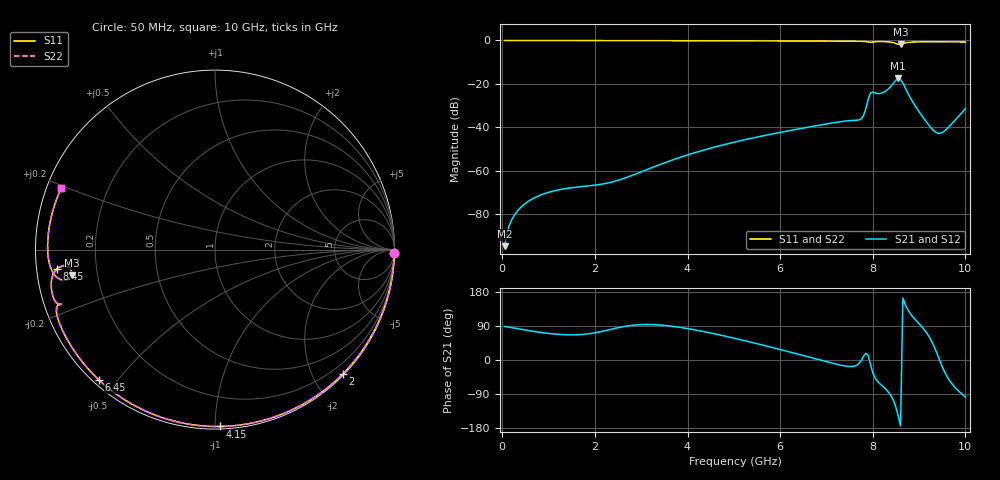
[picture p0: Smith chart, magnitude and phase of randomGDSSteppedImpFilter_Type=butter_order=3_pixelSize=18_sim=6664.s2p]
! freq	dB(S11)	phase(S11)	dB(S12)	phase(S12)
!  dB(S21)	phase(S21)	dB(S22)	phase(S22)
!S-par simulation data
#  GHz  S  DB  R 50
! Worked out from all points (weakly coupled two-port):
!   200 points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, 50 MHz to 10 GHz, reference 50 ohm
!   highest |S21| = -17.45 dB at 8.55 GHz (marker M1); lowest = -94.6 dB at 50 MHz (marker M2)
!   lowest |S11| = -1.9 dB at 8.6 GHz (marker M3), VSWR 9.41, Z = 5.35 - j4.39 ohm
!   |S11| at or under -10 dB: nowhere
!   |S22| runs from -1.8 to 0.0 dB; largest |S21 - S12| = 0
!   S11 on the Smith chart (normalised r, x): 50 MHz: open; 2 GHz: 0.02, -2.46; 4.15 GHz: 0.01, -1.03; 6.45 GHz: 0.02, -0.45; 8.45 GHz: 0.06, -0.06; 10 GHz: 0.04, +0.19
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0.05  -0.00 -1.1  -94.63 88.5  -94.63 88.5  -0.00 -1.1
0.25  -0.01 -5.6  -80.73 84.3  -80.73 84.3  -0.01 -5.6
0.55  -0.02 -12.4  -74.18 78.0  -74.18 78.0  -0.02 -12.4
0.9  -0.03 -20.2  -70.53 71.7  -70.53 71.7  -0.03 -20.2
1.75  -0.05 -38.9  -67.16 67.7  -67.16 67.7  -0.05 -38.9
2  -0.06 -44.3  -66.58 71.8  -66.58 71.8  -0.06 -44.2
3.4  -0.10 -73.4  -57.10 92.3  -57.10 92.3  -0.10 -73.4
4.15  -0.12 -88.3  -51.67 79.7  -51.67 79.7  -0.12 -88.2
5.05  -0.16 -105.5  -46.58 56.2  -46.58 56.2  -0.16 -105.5
6.45  -0.25 -131.7  -40.49 13.3  -40.49 13.3  -0.24 -131.6
6.7  -0.26 -136.4  -39.52 5.2  -39.52 5.2  -0.26 -136.3
7.75  -0.41 -157.4  -36.07 -1.3  -36.07 -1.3  -0.41 -157.4
7.8  -0.46 -158.7  -34.57 9.8  -34.57 9.8  -0.46 -158.6
7.95  -0.82 -160.6  -24.10 -10.7  -24.10 -10.7  -0.84 -160.4
8.35  -0.69 -170.0  -22.05 -86.6  -22.05 -86.6  -0.69 -169.9
8.45  -1.04 -173.2  -19.57 -107.8  -19.57 -107.8  -1.03 -173.0
8.55  -1.81 -172.9  -17.45 -147.7  -17.45 -147.7  -1.80 -172.7
8.6  -1.85 -169.9  -17.90 -173.8  -17.90 -173.8  -1.84 -169.7
9  -0.63 -177.2  -32.79 95.6  -32.79 95.6  -0.63 -177.1
9.4  -0.61 173.2  -42.64 13.2  -42.64 13.2  -0.61 173.3
9.6  -0.63 168.4  -40.67 -42.8  -40.67 -42.8  -0.63 168.6
10  -0.70 158.2  -31.31 -97.7  -31.31 -97.7  -0.70 158.3
